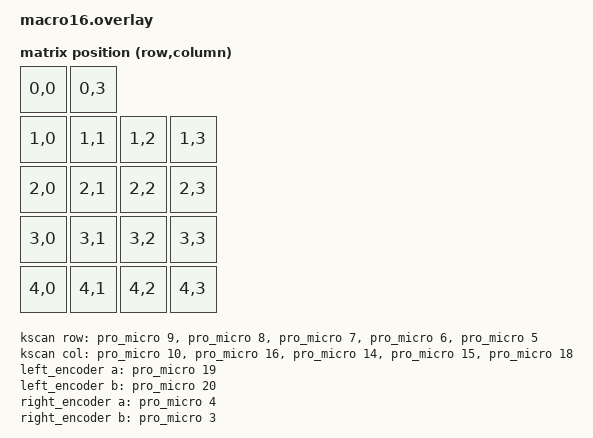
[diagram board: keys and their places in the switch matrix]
#include <physical_layouts.dtsi>
#include <dt-bindings/zmk/matrix_transform.h>

/ {
    chosen {
        zmk,physical-layout = &physical_layout0;
    };

    kscan: kscan {
        compatible = "zmk,kscan-gpio-matrix";
        diode-direction = "col2row";
        wakeup-source;

        row-gpios = <&pro_micro 9 (GPIO_ACTIVE_HIGH | GPIO_PULL_DOWN)>,
                    <&pro_micro 8 (GPIO_ACTIVE_HIGH | GPIO_PULL_DOWN)>,
                    <&pro_micro 7 (GPIO_ACTIVE_HIGH | GPIO_PULL_DOWN)>,
                    <&pro_micro 6 (GPIO_ACTIVE_HIGH | GPIO_PULL_DOWN)>,
                    <&pro_micro 5 (GPIO_ACTIVE_HIGH | GPIO_PULL_DOWN)>;

        col-gpios = <&pro_micro 10 GPIO_ACTIVE_HIGH>,
                    <&pro_micro 16 GPIO_ACTIVE_HIGH>,
                    <&pro_micro 14 GPIO_ACTIVE_HIGH>,
                    <&pro_micro 15 GPIO_ACTIVE_HIGH>,
                    <&pro_micro 18 (GPIO_ACTIVE_HIGH | GPIO_PULL_DOWN)>;
    };

    left_encoder: left_encoder {
        compatible = "alps,ec11";
        a-gpios = <&pro_micro 19 (GPIO_ACTIVE_LOW | GPIO_PULL_UP)>;
        b-gpios = <&pro_micro 20 (GPIO_ACTIVE_LOW | GPIO_PULL_UP)>;
        steps = <24>;
        status = "okay";
    };

    right_encoder: right_encoder {
        compatible = "alps,ec11";
        a-gpios = <&pro_micro 4 (GPIO_ACTIVE_LOW | GPIO_PULL_UP)>;
        b-gpios = <&pro_micro 3 (GPIO_ACTIVE_LOW | GPIO_PULL_UP)>;
        steps = <24>;
        status = "okay";
    };

    sensors: sensors {
        compatible = "zmk,keymap-sensors";
        sensors = <&left_encoder &right_encoder>;
        triggers-per-rotation = <12>;
    };

    transform: matrix_transform {
        compatible = "zmk,matrix-transform";
        rows = <5>;
        columns = <4>;

        map = <
                RC(0,0) RC(0,3)
                RC(1,0) RC(1,1) RC(1,2) RC(1,3)
                RC(2,0) RC(2,1) RC(2,2) RC(2,3)
                RC(3,0) RC(3,1) RC(3,2) RC(3,3)
                RC(4,0) RC(4,1) RC(4,2) RC(4,3)
        >;
    };
};

/ {
    physical_layout0: physical_layout0 {
        compatible = "zmk,physical-layout";
        display-name = "Macro 3x4";
        transform = <&transform>;
        kscan = <&kscan>;

        keys  //                     w   h    x    y     rot    rx    ry
            = <&key_physical_attrs 100 100    0    0       0     0     0> // Left rotary encoder push button
            , <&key_physical_attrs 100 100  100    0       0     0     0>
            , <&key_physical_attrs 100 100  200    0       0     0     0>
            , <&key_physical_attrs 100 100  300    0       0     0     0> // Right rotary encoder push button
            , <&key_physical_attrs 100 100    0  100       0     0     0>
            , <&key_physical_attrs 100 100  100  100       0     0     0>
            , <&key_physical_attrs 100 100  200  100       0     0     0>
            , <&key_physical_attrs 100 100  300  100       0     0     0>
            , <&key_physical_attrs 100 100    0  200       0     0     0>
            , <&key_physical_attrs 100 100  100  200       0     0     0>
            , <&key_physical_attrs 100 100  200  200       0     0     0>
            , <&key_physical_attrs 100 100  300  200       0     0     0>
            , <&key_physical_attrs 100 100    0  300       0     0     0>
            , <&key_physical_attrs 100 100  100  300       0     0     0>
            , <&key_physical_attrs 100 100  200  300       0     0     0>
            , <&key_physical_attrs 100 100  300  300       0     0     0>
    };
};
